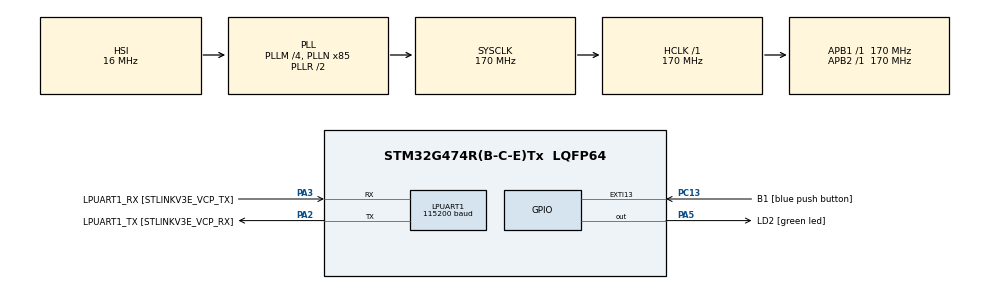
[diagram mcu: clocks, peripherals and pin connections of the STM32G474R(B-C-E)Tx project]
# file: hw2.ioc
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LPUART1.BaudRate=115200
LPUART1.WordLength=UART_WORDLENGTH_8B
Mcu.Family=STM32G4
Mcu.Name=STM32G474R(B-C-E)Tx
Mcu.Package=LQFP64
NVIC.EXTI15_10_IRQn=true\:0\:0\:false\:false\:true\:true\:true\:true
NVIC.PriorityGroup=NVIC_PRIORITYGROUP_4
PA13.GPIO_Label=T_SWDIO
PA13.Mode=Serial_Wire
PA13.Signal=SYS_JTMS-SWDIO
PA14.GPIO_Label=T_SWCLK
PA14.Mode=Serial_Wire
PA14.Signal=SYS_JTCK-SWCLK
PA2.GPIO_Label=LPUART1_TX [STLINKV3E_VCP_RX]
PA2.Mode=Asynchronous
PA2.Signal=LPUART1_TX
PA3.GPIO_Label=LPUART1_RX [STLINKV3E_VCP_TX]
PA3.Mode=Asynchronous
PA3.Signal=LPUART1_RX
PA5.GPIO_Label=LD2 [green led]
PA5.Signal=GPIO_Output
PB3.GPIO_Label=T_SWO
PB3.Signal=SYS_JTDO-SWO
PC13.GPIO_Label=B1 [blue push button]
PC13.Signal=GPXTI13
PC14-OSC32_IN.Mode=LSE-External-Oscillator
PC14-OSC32_IN.Signal=RCC_OSC32_IN
PC15-OSC32_OUT.Mode=LSE-External-Oscillator
PC15-OSC32_OUT.Signal=RCC_OSC32_OUT
PF0-OSC_IN.Mode=HSE-External-Oscillator
PF0-OSC_IN.Signal=RCC_OSC_IN
PF1-OSC_OUT.Mode=HSE-External-Oscillator
PF1-OSC_OUT.Signal=RCC_OSC_OUT
ProjectManager.HeapSize=0x200
ProjectManager.StackSize=0x400
ProjectManager.TargetToolchain=STM32CubeIDE
RCC.ADC12Freq_Value=170000000
RCC.ADC345Freq_Value=170000000
RCC.AHBFreq_Value=170000000
RCC.APB1Freq_Value=170000000
RCC.APB1TimFreq_Value=170000000
RCC.APB2Freq_Value=170000000
RCC.APB2TimFreq_Value=170000000
RCC.CortexFreq_Value=170000000
RCC.EXTERNAL_CLOCK_VALUE=12288000
RCC.HCLKFreq_Value=170000000
RCC.HSE_VALUE=24000000
RCC.HSI48_VALUE=48000000
RCC.HSI_VALUE=16000000
RCC.PLLM=RCC_PLLM_DIV4
RCC.PLLN=85
RCC.RTCClockSelection=RCC_RTCCLKSOURCE_LSE
RCC.SYSCLKFreq_VALUE=170000000
RCC.SYSCLKSource=RCC_SYSCLKSOURCE_PLLCLK
RCC.USBFreq_Value=170000000
RCC.VCOOutputFreq_Value=340000000
VP_SYS_VS_DBSignals.Mode=DisableDeadBatterySignals
board=NUCLEO-G474RE

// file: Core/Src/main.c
/* USER CODE BEGIN Header */
/**
  ******************************************************************************
  * @file           : main.c
  * @brief          : Main program body
  ******************************************************************************
  * @attention
  *
  * Copyright (c) 2024 STMicroelectronics.
  * All rights reserved.
  *
  * This software is licensed under terms that can be found in the LICENSE file
  * in the root directory of this software component.
  * If no LICENSE file comes with this software, it is provided AS-IS.
  *
  ******************************************************************************
  */
/* USER CODE END Header */
#include "main.h"

UART_HandleTypeDef hlpuart1;

void SystemClock_Config(void);
static void MX_GPIO_Init(void);
static void MX_LPUART1_UART_Init(void);

int main(void)
{

  /* MCU Configuration--------------------------------------------------------*/

  /* Reset of all peripherals, Initializes the Flash interface and the Systick. */
  HAL_Init();

  /* Configure the system clock */
  SystemClock_Config();

  /* Initialize all configured peripherals */
  MX_GPIO_Init();
  MX_LPUART1_UART_Init();

  /* Infinite loop */
  while (1)
  {

    /* USER CODE BEGIN 3 */
	   HAL_UART_Transmit(&hlpuart1, "\n\r", 4, 10);
	   HAL_UART_Transmit(&hlpuart1, "\n\r", 4, 10);
	   HAL_UART_Transmit(&hlpuart1, "\n\r", 4, 10);
	   HAL_UART_Transmit(&hlpuart1, "\n\r", 4, 10);
	   HAL_UART_Transmit(&hlpuart1, "\n\r", 4, 10);
	   HAL_UART_Transmit(&hlpuart1, "XOOO", 4, 10);
	   HAL_UART_Transmit(&hlpuart1, "\n\r", 4, 10);
	   HAL_UART_Transmit(&hlpuart1, "OOOO", 4, 10);
	   HAL_UART_Transmit(&hlpuart1, "\n\r", 4, 10);
	   HAL_UART_Transmit(&hlpuart1, "OOOO", 4, 10);
	   HAL_UART_Transmit(&hlpuart1, "\n\r", 4, 10);
	   HAL_UART_Transmit(&hlpuart1, "OOOO", 4, 10);
	   HAL_UART_Transmit(&hlpuart1, "\n\r", 4, 10);
	   HAL_UART_Transmit(&hlpuart1, "\n\r", 4, 10);
	   HAL_UART_Transmit(&hlpuart1, "\n\r", 4, 10);
	   HAL_UART_Transmit(&hlpuart1, "\n\r", 4, 10);
	   HAL_UART_Transmit(&hlpuart1, "\n\r", 4, 10);
	   HAL_Delay(200);
	   HAL_UART_Transmit(&hlpuart1, "\n\r", 4, 10);
	   HAL_UART_Transmit(&hlpuart1, "\n\r", 4, 10);
	   HAL_UART_Transmit(&hlpuart1, "\n\r", 4, 10);
	   HAL_UART_Transmit(&hlpuart1, "\n\r", 4, 10);
	   HAL_UART_Transmit(&hlpuart1, "\n\r", 4, 10);
	   HAL_UART_Transmit(&hlpuart1, "OOOO", 4, 10);
	   HAL_UART_Transmit(&hlpuart1, "\n\r", 4, 10);
	   HAL_UART_Transmit(&hlpuart1, "XOOO", 4, 10);
	   HAL_UART_Transmit(&hlpuart1, "\n\r", 4, 10);
	   HAL_UART_Transmit(&hlpuart1, "OOOO", 4, 10);
	   HAL_UART_Transmit(&hlpuart1, "\n\r", 4, 10);
	   HAL_UART_Transmit(&hlpuart1, "OOOO", 4, 10);
	   HAL_UART_Transmit(&hlpuart1, "\n\r", 4, 10);
	   HAL_UART_Transmit(&hlpuart1, "\n\r", 4, 10);
	   HAL_UART_Transmit(&hlpuart1, "\n\r", 4, 10);
	   HAL_UART_Transmit(&hlpuart1, "\n\r", 4, 10);
	   HAL_UART_Transmit(&hlpuart1, "\n\r", 4, 10);
	   HAL_Delay(200);
	   HAL_UART_Transmit(&hlpuart1, "\n\r", 4, 10);
	   HAL_UART_Transmit(&hlpuart1, "\n\r", 4, 10);
	   HAL_UART_Transmit(&hlpuart1, "\n\r", 4, 10);
	   HAL_UART_Transmit(&hlpuart1, "\n\r", 4, 10);
	   HAL_UART_Transmit(&hlpuart1, "\n\r", 4, 10);
	   HAL_UART_Transmit(&hlpuart1, "OOOO", 4, 10);
	   HAL_UART_Transmit(&hlpuart1, "\n\r", 4, 10);
	   HAL_UART_Transmit(&hlpuart1, "OOOO", 4, 10);
	   HAL_UART_Transmit(&hlpuart1, "\n\r", 4, 10);
	   HAL_UART_Transmit(&hlpuart1, "XOOO", 4, 10);
	   HAL_UART_Transmit(&hlpuart1, "\n\r", 4, 10);
	   HAL_UART_Transmit(&hlpuart1, "OOOO", 4, 10);
	   HAL_UART_Transmit(&hlpuart1, "\n\r", 4, 10);
	   HAL_UART_Transmit(&hlpuart1, "\n\r", 4, 10);
	   HAL_UART_Transmit(&hlpuart1, "\n\r", 4, 10);
	   HAL_UART_Transmit(&hlpuart1, "\n\r", 4, 10);
	   HAL_UART_Transmit(&hlpuart1, "\n\r", 4, 10);
	   HAL_Delay(200);
	   HAL_UART_Transmit(&hlpuart1, "\n\r", 4, 10);
	   HAL_UART_Transmit(&hlpuart1, "\n\r", 4, 10);
	   HAL_UART_Transmit(&hlpuart1, "\n\r", 4, 10);
	   HAL_UART_Transmit(&hlpuart1, "\n\r", 4, 10);
	   HAL_UART_Transmit(&hlpuart1, "\n\r", 4, 10);
	   HAL_UART_Transmit(&hlpuart1, "OOOO", 4, 10);
	   HAL_UART_Transmit(&hlpuart1, "\n\r", 4, 10);
	   HAL_UART_Transmit(&hlpuart1, "OOOO", 4, 10);
	   HAL_UART_Transmit(&hlpuart1, "\n\r", 4, 10);
	   HAL_UART_Transmit(&hlpuart1, "OOOO", 4, 10);
	   HAL_UART_Transmit(&hlpuart1, "\n\r", 4, 10);
	   HAL_UART_Transmit(&hlpuart1, "XOOO", 4, 10);
	   HAL_UART_Transmit(&hlpuart1, "\n\r", 4, 10);
	   HAL_UART_Transmit(&hlpuart1, "\n\r", 4, 10);
	   HAL_UART_Transmit(&hlpuart1, "\n\r", 4, 10);
	   HAL_UART_Transmit(&hlpuart1, "\n\r", 4, 10);
	   HAL_UART_Transmit(&hlpuart1, "\n\r", 4, 10);
	   HAL_Delay(200);
  }
  /* USER CODE END 3 */
}

void SystemClock_Config(void)
{
  RCC_OscInitTypeDef RCC_OscInitStruct = {0};
  RCC_ClkInitTypeDef RCC_ClkInitStruct = {0};

  /** Configure the main internal regulator output voltage
  */
  HAL_PWREx_ControlVoltageScaling(PWR_REGULATOR_VOLTAGE_SCALE1_BOOST);

  /** Initializes the RCC Oscillators according to the specified parameters
  * in the RCC_OscInitTypeDef structure.
  */
  RCC_OscInitStruct.OscillatorType = RCC_OSCILLATORTYPE_HSI;
  RCC_OscInitStruct.HSIState = RCC_HSI_ON;
  RCC_OscInitStruct.HSICalibrationValue = RCC_HSICALIBRATION_DEFAULT;
  RCC_OscInitStruct.PLL.PLLState = RCC_PLL_ON;
  RCC_OscInitStruct.PLL.PLLSource = RCC_PLLSOURCE_HSI;
  RCC_OscInitStruct.PLL.PLLM = RCC_PLLM_DIV4;
  RCC_OscInitStruct.PLL.PLLN = 85;
  RCC_OscInitStruct.PLL.PLLP = RCC_PLLP_DIV2;
  RCC_OscInitStruct.PLL.PLLQ = RCC_PLLQ_DIV2;
  RCC_OscInitStruct.PLL.PLLR = RCC_PLLR_DIV2;
  if (HAL_RCC_OscConfig(&RCC_OscInitStruct) != HAL_OK)
  {
    Error_Handler();
  }

  /** Initializes the CPU, AHB and APB buses clocks
  */
  RCC_ClkInitStruct.ClockType = RCC_CLOCKTYPE_HCLK|RCC_CLOCKTYPE_SYSCLK
                              |RCC_CLOCKTYPE_PCLK1|RCC_CLOCKTYPE_PCLK2;
  RCC_ClkInitStruct.SYSCLKSource = RCC_SYSCLKSOURCE_PLLCLK;
  RCC_ClkInitStruct.AHBCLKDivider = RCC_SYSCLK_DIV1;
  RCC_ClkInitStruct.APB1CLKDivider = RCC_HCLK_DIV1;
  RCC_ClkInitStruct.APB2CLKDivider = RCC_HCLK_DIV1;

  if (HAL_RCC_ClockConfig(&RCC_ClkInitStruct, FLASH_LATENCY_4) != HAL_OK)
  {
    Error_Handler();
  }
}

static void MX_LPUART1_UART_Init(void)
{

  hlpuart1.Instance = LPUART1;
  hlpuart1.Init.BaudRate = 115200;
  hlpuart1.Init.WordLength = UART_WORDLENGTH_8B;
  hlpuart1.Init.StopBits = UART_STOPBITS_1;
  hlpuart1.Init.Parity = UART_PARITY_NONE;
  hlpuart1.Init.Mode = UART_MODE_TX_RX;
  hlpuart1.Init.HwFlowCtl = UART_HWCONTROL_NONE;
  hlpuart1.Init.OneBitSampling = UART_ONE_BIT_SAMPLE_DISABLE;
  hlpuart1.Init.ClockPrescaler = UART_PRESCALER_DIV1;
  hlpuart1.AdvancedInit.AdvFeatureInit = UART_ADVFEATURE_NO_INIT;
  if (HAL_UART_Init(&hlpuart1) != HAL_OK)
  {
    Error_Handler();
  }
  if (HAL_UARTEx_SetTxFifoThreshold(&hlpuart1, UART_TXFIFO_THRESHOLD_1_8) != HAL_OK)
  {
    Error_Handler();
  }
  if (HAL_UARTEx_SetRxFifoThreshold(&hlpuart1, UART_RXFIFO_THRESHOLD_1_8) != HAL_OK)
  {
    Error_Handler();
  }
  if (HAL_UARTEx_DisableFifoMode(&hlpuart1) != HAL_OK)
  {
    Error_Handler();
  }

}

static void MX_GPIO_Init(void)
{
  GPIO_InitTypeDef GPIO_InitStruct = {0};

  /* GPIO Ports Clock Enable */
  __HAL_RCC_GPIOC_CLK_ENABLE();
  __HAL_RCC_GPIOF_CLK_ENABLE();
  __HAL_RCC_GPIOA_CLK_ENABLE();
  __HAL_RCC_GPIOB_CLK_ENABLE();

  /*Configure GPIO pin Output Level */
  HAL_GPIO_WritePin(LD2_GPIO_Port, LD2_Pin, GPIO_PIN_RESET);

  /*Configure GPIO pin : B1_Pin */
  GPIO_InitStruct.Pin = B1_Pin;
  GPIO_InitStruct.Mode = GPIO_MODE_IT_RISING;
  GPIO_InitStruct.Pull = GPIO_NOPULL;
  HAL_GPIO_Init(B1_GPIO_Port, &GPIO_InitStruct);

  /*Configure GPIO pin : LD2_Pin */
  GPIO_InitStruct.Pin = LD2_Pin;
  GPIO_InitStruct.Mode = GPIO_MODE_OUTPUT_PP;
  GPIO_InitStruct.Pull = GPIO_NOPULL;
  GPIO_InitStruct.Speed = GPIO_SPEED_FREQ_LOW;
  HAL_GPIO_Init(LD2_GPIO_Port, &GPIO_InitStruct);

  /* EXTI interrupt init*/
  HAL_NVIC_SetPriority(EXTI15_10_IRQn, 0, 0);
  HAL_NVIC_EnableIRQ(EXTI15_10_IRQn);

}

void Error_Handler(void)
{
  __disable_irq();
  while (1)
  {
  }
}
